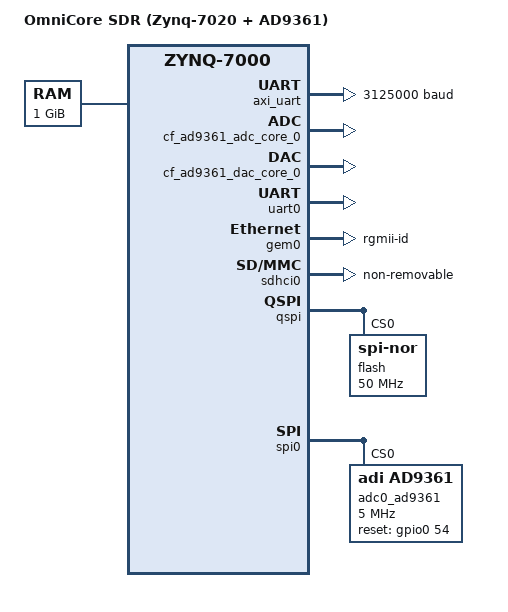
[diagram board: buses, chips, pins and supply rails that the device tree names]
// SPDX-License-Identifier: GPL-2.0
/*
 * OmniCore SDR: Zynq-7020 (xc7z020clg400-2) + AD9361 + CH32H417 USB3 bridge.
 *
 * Addresses and interrupts come from OmniCore-SDR-Firmware system.hdf:
 *   axi_uart16550_0   0x43C00000  IRQ_F2P[14] -> SPI 58  (CH32 USART1 command link)
 *   CH32H417_IP_0     0x43C10000  IRQ_F2P[15] -> SPI 59  (UHSIF bridge, UIO)
 *   BOARD_CTRL_AXI_0  0x43C20000  -                      (fan/RGB, UIO)
 *   axi_ad9361        0x79020000  gps_pps IRQ_F2P[0] -> SPI 29
 *   adc_dma           0x7C400000  IRQ_F2P[13] -> SPI 57
 *   dac_dma           0x7C420000  IRQ_F2P[12] -> SPI 56
 *
 * The AD9361 node mirrors board_config.c default_init_param of the no-OS SDK.
 * Ownership of the AD9361 is switched at runtime by omnicored: OCH/USB mode
 * unbinds ad9361/cf_axi_adc/cf_axi_dds and binds spidev; libiio mode reverses it.
 */
/dts-v1/;
#include "zynq-7000.dtsi"
#include <dt-bindings/interrupt-controller/irq.h>

/ {
	model = "OmniCore SDR (Zynq-7020 + AD9361)";
	compatible = "omnicore,sdr", "xlnx,zynq-7000";

	memory@0 {
		device_type = "memory";
		reg = <0x00000000 0x40000000>;
	};

	chosen {
		stdout-path = "serial0:115200n8";
	};

	aliases {
		ethernet0 = &gem0;
		serial0 = &uart0;
		serial1 = &axi_uart;	/* -> /dev/ttyS1 */
		mmc0 = &sdhci0;
		spi0 = &qspi;
		spi1 = &spi0;		/* AD9361 -> spi1.0 */
	};

	clocks {
		ad9361_clkin: clock@0 {
			compatible = "fixed-clock";
			clock-frequency = <40000000>;
			clock-output-names = "ad9361_ext_refclk";
			#clock-cells = <0>;
		};
	};

	fpga_axi: fpga-axi {
		compatible = "simple-bus";
		#address-cells = <0x1>;
		#size-cells = <0x1>;
		ranges;

		axi_uart: serial@43c00000 {
			compatible = "ns16550a";
			reg = <0x43c00000 0x10000>;
			reg-offset = <0x1000>;
			reg-shift = <2>;
			reg-io-width = <4>;
			clock-frequency = <100000000>;
			current-speed = <3125000>;
			interrupt-parent = <&intc>;
			interrupts = <0 58 IRQ_TYPE_LEVEL_HIGH>;
		};

		ch32_bridge: uio@43c10000 {
			compatible = "generic-uio";
			linux,uio-name = "ch32h417";
			reg = <0x43c10000 0x10000>;
			interrupt-parent = <&intc>;
			interrupts = <0 59 IRQ_TYPE_LEVEL_HIGH>;
		};

		board_ctrl: uio@43c20000 {
			compatible = "generic-uio";
			linux,uio-name = "board_ctrl";
			reg = <0x43c20000 0x10000>;
		};

		/* gps_pps_irq of axi_ad9361; registers belong to the ADC core below. */
		pps_irq: pps-uio {
			compatible = "generic-uio";
			linux,uio-name = "pps";
			interrupt-parent = <&intc>;
			interrupts = <0 29 IRQ_TYPE_EDGE_RISING>;
		};

		rx_dma: dma@7c400000 {
			compatible = "adi,axi-dmac-1.00.a";
			reg = <0x7c400000 0x1000>;
			#dma-cells = <1>;
			interrupt-parent = <&intc>;
			interrupts = <0 57 IRQ_TYPE_LEVEL_HIGH>;
			clocks = <&clkc 15>;

			adi,channels {
				#size-cells = <0>;
				#address-cells = <1>;
				dma-channel@0 {
					reg = <0>;
					adi,source-bus-width = <64>;
					adi,source-bus-type = <2>;
					adi,destination-bus-width = <64>;
					adi,destination-bus-type = <0>;
				};
			};
		};

		tx_dma: dma@7c420000 {
			compatible = "adi,axi-dmac-1.00.a";
			reg = <0x7c420000 0x1000>;
			#dma-cells = <1>;
			interrupt-parent = <&intc>;
			interrupts = <0 56 IRQ_TYPE_LEVEL_HIGH>;
			clocks = <&clkc 15>;

			adi,channels {
				#size-cells = <0>;
				#address-cells = <1>;
				dma-channel@0 {
					reg = <0>;
					adi,source-bus-width = <64>;
					adi,source-bus-type = <0>;
					adi,destination-bus-width = <64>;
					adi,destination-bus-type = <2>;
				};
			};
		};

		cf_ad9361_adc_core_0: cf-ad9361-lpc@79020000 {
			compatible = "adi,axi-ad9361-6.00.a";
			reg = <0x79020000 0x6000>;
			dmas = <&rx_dma 0>;
			dma-names = "rx";
			spibus-connected = <&adc0_ad9361>;
		};

		cf_ad9361_dac_core_0: cf-ad9361-dds-core-lpc@79024000 {
			compatible = "adi,axi-ad9361-dds-6.00.a";
			reg = <0x79024000 0x1000>;
			clocks = <&adc0_ad9361 13>;
			clock-names = "sampl_clk";
			dmas = <&tx_dma 0>;
			dma-names = "tx";
		};
	};
};

&uart0 {
	status = "okay";
};

&gem0 {
	status = "okay";
	/* RTL8211FD-CG on MDIO MIO52/53. RXD/RXCTL/RXCLK straps are pulled up, i.e.
	 * the PHY adds the TX and RX delays; PHYRSTB is tied to PS_POR#. The address
	 * is found by scanning the MDIO bus (no PHY child node). */
	phy-mode = "rgmii-id";
};

&sdhci0 {
	status = "okay";
	disable-wp;
	non-removable;	/* TF socket DETECT is not connected */
	no-1-8-v;
	/* 1V8 MIO -> TXS0108 level shifter -> card: keep the clock conservative. */
	max-frequency = <25000000>;
};

&qspi {
	status = "okay";
	is-dual = <0>;
	num-cs = <1>;

	flash@0 {
		compatible = "jedec,spi-nor";	/* W25Q256 */
		reg = <0>;
		spi-tx-bus-width = <1>;
		spi-rx-bus-width = <4>;
		spi-max-frequency = <50000000>;
	};
};

&gpio0 {
	status = "okay";
};

&spi0 {
	status = "okay";
	num-cs = <1>;
	is-decoded-cs = <0>;

	adc0_ad9361: ad9361-phy@0 {
		compatible = "adi,ad9361";
		reg = <0>;
		spi-cpha;
		spi-max-frequency = <5000000>;
		clocks = <&ad9361_clkin>;
		clock-names = "ad9361_ext_refclk";
		clock-output-names = "rx_sampl_clk", "tx_sampl_clk";
		#clock-cells = <1>;

		/* AD9361 RESETB = EMIO GPIO[0] (54) AND FCLK_RESET0_N; 0 = in reset. */
		reset-gpios = <&gpio0 54 0>;

		adi,digital-interface-tune-skip-mode = <0>;
		adi,pp-tx-swap-enable;
		adi,pp-rx-swap-enable;
		adi,rx-frame-pulse-mode-enable;
		adi,lvds-mode-enable;
		adi,lvds-bias-mV = <150>;
		adi,lvds-rx-onchip-termination-enable;
		adi,rx-data-delay = <4>;
		adi,tx-fb-clock-delay = <7>;
		/* Board specific LVDS P/N swaps (board_config.c). */
		adi,lvds-invert1-control = <0xFF>;
		adi,lvds-invert2-control = <0x0F>;
		adi,dcxo-coarse-and-fine-tune = <8 5920>;
		adi,2rx-2tx-mode-enable;
		adi,frequency-division-duplex-mode-enable;
		adi,rx-rf-port-input-select = <0>;
		adi,tx-rf-port-input-select = <0>;
		/* Start muted; libiio clients set hardwaregain explicitly. */
		adi,tx-attenuation-mdB = <89750>;
		adi,tx-lo-powerdown-managed-enable;
		adi,rf-rx-bandwidth-hz = <18000000>;
		adi,rf-tx-bandwidth-hz = <18000000>;
		adi,rx-synthesizer-frequency-hz = /bits/ 64 <1000000000>;
		adi,tx-synthesizer-frequency-hz = /bits/ 64 <1000000000>;
		adi,rx-path-clock-frequencies = <983040000 245760000 122880000 61440000 30720000 30720000>;
		adi,tx-path-clock-frequencies = <983040000 122880000 122880000 61440000 30720000 30720000>;

		adi,gc-rx1-mode = <2>;
		adi,gc-rx2-mode = <2>;
		adi,gc-adc-ovr-sample-size = <4>;
		adi,gc-adc-small-overload-thresh = <47>;
		adi,gc-adc-large-overload-thresh = <58>;
		adi,gc-lmt-overload-high-thresh = <800>;
		adi,gc-lmt-overload-low-thresh = <704>;
		adi,gc-dec-pow-measurement-duration = <8192>;
		adi,gc-low-power-thresh = <24>;
		adi,mgc-inc-gain-step = <2>;
		adi,mgc-dec-gain-step = <2>;
		adi,mgc-split-table-ctrl-inp-gain-mode = <0>;
		adi,agc-attack-delay-extra-margin-us = <1>;
		adi,agc-outer-thresh-high = <5>;
		adi,agc-outer-thresh-high-dec-steps = <2>;
		adi,agc-inner-thresh-high = <10>;
		adi,agc-inner-thresh-high-dec-steps = <1>;
		adi,agc-inner-thresh-low = <12>;
		adi,agc-inner-thresh-low-inc-steps = <1>;
		adi,agc-outer-thresh-low = <18>;
		adi,agc-outer-thresh-low-inc-steps = <2>;
		adi,agc-adc-small-overload-exceed-counter = <10>;
		adi,agc-adc-large-overload-exceed-counter = <10>;
		adi,agc-adc-large-overload-inc-steps = <2>;
		adi,agc-lmt-overload-large-exceed-counter = <10>;
		adi,agc-lmt-overload-small-exceed-counter = <10>;
		adi,agc-lmt-overload-large-inc-steps = <2>;
		adi,agc-gain-update-interval-us = <1000>;
		adi,fagc-dec-pow-measurement-duration = <64>;
		adi,fagc-lp-thresh-increment-steps = <1>;
		adi,fagc-lp-thresh-increment-time = <5>;
		adi,fagc-energy-lost-stronger-sig-gain-lock-exit-cnt = <8>;
		adi,fagc-final-overrange-count = <3>;
		adi,fagc-gain-index-type-after-exit-rx-mode = <0>;
		adi,fagc-lmt-final-settling-steps = <1>;
		adi,fagc-lock-level = <10>;
		adi,fagc-lock-level-gain-increase-upper-limit = <5>;
		adi,fagc-lock-level-lmt-gain-increase-enable;
		adi,fagc-lpf-final-settling-steps = <1>;
		adi,fagc-optimized-gain-offset = <5>;
		adi,fagc-power-measurement-duration-in-state5 = <64>;
		adi,fagc-rst-gla-engergy-lost-goto-optim-gain-enable;
		adi,fagc-rst-gla-engergy-lost-sig-thresh-below-ll = <10>;
		adi,fagc-rst-gla-engergy-lost-sig-thresh-exceeded-enable;
		adi,fagc-rst-gla-if-en-agc-pulled-high-mode = <0>;
		adi,fagc-rst-gla-large-adc-overload-enable;
		adi,fagc-rst-gla-large-lmt-overload-enable;
		adi,fagc-rst-gla-stronger-sig-thresh-above-ll = <10>;
		adi,fagc-rst-gla-stronger-sig-thresh-exceeded-enable;
		adi,fagc-state-wait-time-ns = <260>;
		adi,fagc-use-last-lock-level-for-set-gain-enable;
		adi,rssi-restart-mode = <3>;
		adi,rssi-delay = <1>;
		adi,rssi-wait = <1>;
		adi,rssi-duration = <1000>;
		adi,ctrl-outs-index = <0>;
		adi,ctrl-outs-enable-mask = <0xFF>;
		adi,temp-sense-measurement-interval-ms = <1000>;
		adi,temp-sense-offset-signed = <0xCE>;
		adi,temp-sense-periodic-measurement-enable;
		adi,aux-dac-manual-mode-enable;
		adi,aux-dac1-default-value-mV = <0>;
		adi,aux-dac1-rx-delay-us = <0>;
		adi,aux-dac1-tx-delay-us = <0>;
		adi,aux-dac2-default-value-mV = <0>;
		adi,aux-dac2-rx-delay-us = <0>;
		adi,aux-dac2-tx-delay-us = <0>;
	};
};
